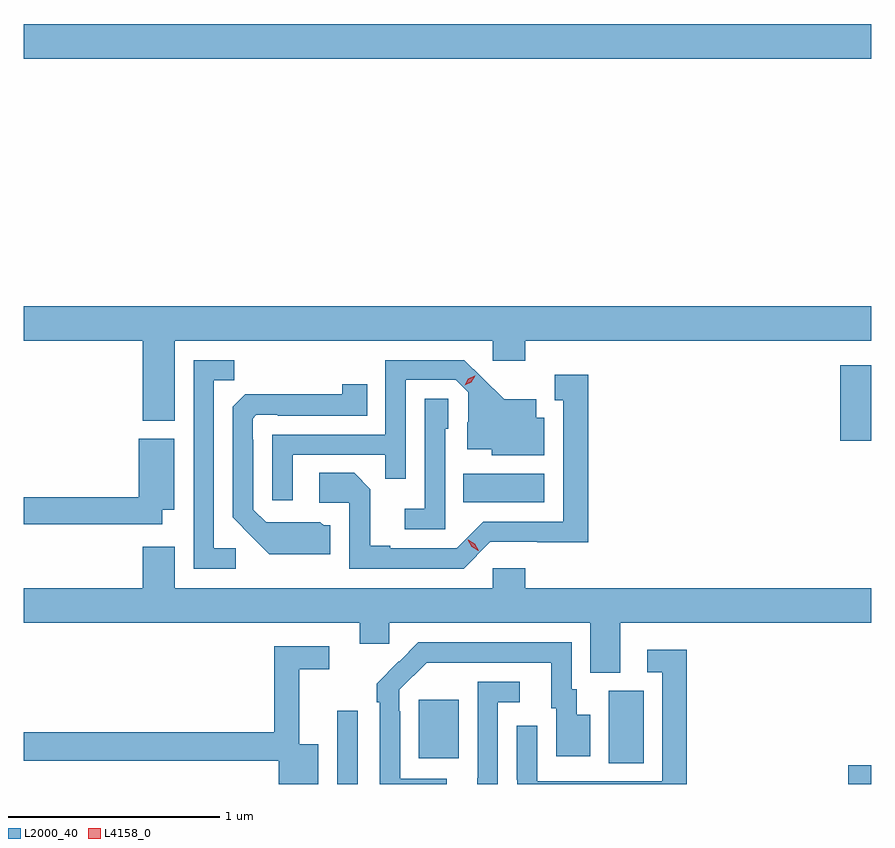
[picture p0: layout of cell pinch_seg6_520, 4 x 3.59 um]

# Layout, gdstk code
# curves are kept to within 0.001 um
import gdstk
lib = gdstk.Library(unit=1e-6, precision=1e-09)
def R(c, l, rs):  # rectangles x0, y0, x1, y1
    for r in rs: c.add(gdstk.rectangle(r[:2], r[2:], *l))
def P(c, l, *ps):  # polygons
    for p in ps: c.add(gdstk.Polygon(p, *l))
L2000_40 = (2000, 40)
L4158_0 = (4158, 0)

pinch_seg6_520 = lib.new_cell('pinch_seg6_520')
R(pinch_seg6_520, L2000_40, [(790.341,946.575,790.437,946.921), (792.755,946.575,792.862,946.663), (791.624,946.672,791.788,947.016), (790.727,946.697,790.915,946.972), (790.936,947.906,791.32,948.04), (792.716,948.197,792.862,948.553), (788.862,950,792.862,950.164)])
P(pinch_seg6_520, L2000_40, [(789.574,948.668),(791.076,948.668),(791.076,948.573),(791.228,948.573),(791.228,948.668),(792.862,948.668),(792.862,948.832),(788.862,948.832),(788.862,948.668),(789.422,948.668),(789.422,948.29),(789.574,948.29)],
  [(789.862,947.688),(789.759,947.688),(789.759,948.481),(789.855,948.481),(789.855,948.576),(789.663,948.576),(789.663,947.592),(789.862,947.592)],
  [(790.131,948.129),(790.567,948.129),(790.567,948.016),(790.665,948.016),(790.665,948.483),(790.902,948.483),(790.959,948.426),(790.959,948.284),(790.955,948.284),(790.955,948.155),(791.07,948.155),(791.07,948.128),(791.32,948.128),(791.32,948.304),(791.281,948.304),(791.281,948.391),(791.129,948.391),(790.942,948.576),(790.569,948.576),(790.569,948.225),(790.035,948.225),(790.035,947.916),(790.131,947.916)],
  [(791.064,947.718),(791.527,947.717),(791.527,948.508),(791.369,948.508),(791.369,948.387),(791.408,948.387),(791.408,947.814),(791.031,947.814),(790.905,947.688),(790.591,947.688),(790.591,947.701),(790.497,947.701),(790.497,947.968),(790.421,948.044),(790.257,948.044),(790.257,947.904),(790.398,947.904),(790.398,947.592),(790.938,947.592)],
  [(790.309,947.796),(790.278,947.796),(790.262,947.812),(790.005,947.811),(789.945,947.871),(789.945,948.2),(789.942,948.2),(789.942,948.3),(789.96,948.318),(790.06,948.318),(790.06,948.315),(790.484,948.315),(790.484,948.463),(790.366,948.463),(790.366,948.416),(789.908,948.415),(789.849,948.356),(789.849,947.834),(790.021,947.66),(790.309,947.66)],
  [(790.851,948.252),(790.866,948.252),(790.866,948.395),(790.755,948.395),(790.755,947.875),(790.659,947.875),(790.659,947.778),(790.851,947.778)],
  [(789.514,947.87),(789.571,947.87),(789.571,948.205),(789.404,948.205),(789.404,947.93),(788.862,947.93),(788.862,947.802),(789.514,947.802)],
  [(791.677,947.336),(792.862,947.336),(792.862,947.5),(791.228,947.5),(791.228,947.593),(791.076,947.593),(791.076,947.5),(789.574,947.5),(789.574,947.695),(789.422,947.695),(789.422,947.5),(788.862,947.5),(788.862,947.336),(790.448,947.336),(790.448,947.238),(790.587,947.238),(790.587,947.336),(791.537,947.336),(791.537,947.101),(791.677,947.101)],
  [(790.858,946.599),(790.638,946.599),(790.638,946.919),(790.635,946.919),(790.635,947.019),(790.764,947.148),(791.351,947.148),(791.351,946.932),(791.375,946.932),(791.375,946.707),(791.536,946.707),(791.536,946.903),(791.473,946.903),(791.473,947.022),(791.448,947.022),(791.448,947.244),(790.724,947.244),(790.527,947.049),(790.527,946.961),(790.542,946.961),(790.542,946.575),(790.858,946.575)],
  [(790.252,946.762),(790.163,946.762),(790.163,947.118),(790.303,947.118),(790.303,947.226),(790.045,947.226),(790.045,946.82),(788.862,946.82),(788.862,946.684),(790.065,946.684),(790.065,946.575),(790.252,946.575)],
  [(791.993,947.209),(791.805,947.209),(791.805,947.103),(791.877,947.103),(791.877,946.587),(791.286,946.587),(791.286,946.849),(791.19,946.849),(791.19,946.594),(791.191,946.594),(791.191,946.575),(791.993,946.575)],
  [(791.1,946.962),(791.203,946.962),(791.203,947.058),(791.004,947.058),(791.004,946.601),(791.003,946.601),(791.003,946.575),(791.1,946.575)])
P(pinch_seg6_520, L4158_0, [(791.008,947.677),(790.976,947.696),(790.958,947.728),(790.958,947.728),(790.959,947.728),(790.991,947.71),(791.009,947.677),(791.009,947.677)],
  [(790.944,948.458),(790.944,948.458),(790.961,948.488),(790.991,948.503),(790.992,948.503),(790.992,948.503),(790.975,948.473),(790.944,948.458)])

lib.write_gds('pinch_seg6_520.gds')
